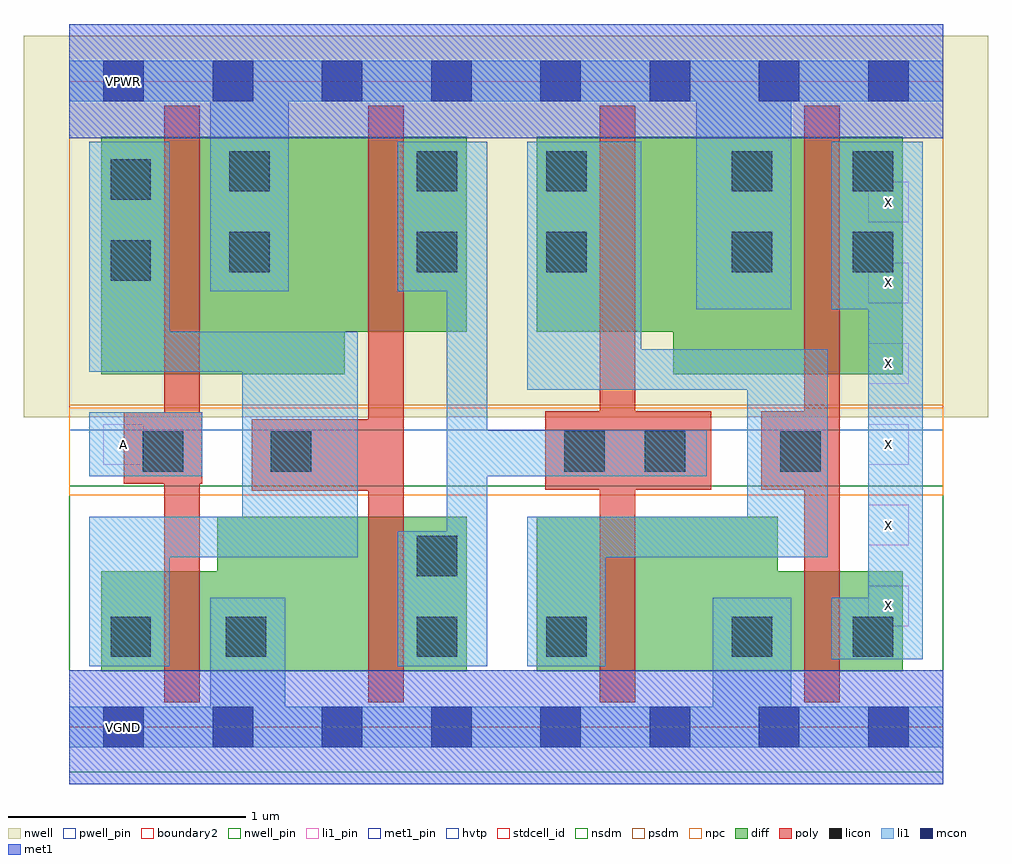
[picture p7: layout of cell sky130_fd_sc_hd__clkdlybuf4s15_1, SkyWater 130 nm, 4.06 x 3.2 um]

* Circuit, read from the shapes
.subckt sky130_fd_sc_hd__clkdlybuf4s15_1 A VGND VNB VPB VPWR X
XM1 VGND A n1 VNB sky130_fd_pr__nfet_01v8 w=0.42 l=0.15
XM2 n2 n1 VGND VNB sky130_fd_pr__nfet_01v8 w=0.65 l=0.15
XM3 VGND n2 n3 VNB sky130_fd_pr__nfet_01v8 w=0.65 l=0.15
XM4 X n3 VGND VNB sky130_fd_pr__nfet_01v8 w=0.42 l=0.15
XM5 VPWR A n1 VPB sky130_fd_pr__pfet_01v8_hvt w=1 l=0.15
XM6 n2 n1 VPWR VPB sky130_fd_pr__pfet_01v8_hvt w=0.82 l=0.15
XM7 VPWR n2 n3 VPB sky130_fd_pr__pfet_01v8_hvt w=0.82 l=0.15
XM8 X n3 VPWR VPB sky130_fd_pr__pfet_01v8_hvt w=1 l=0.15
.ends

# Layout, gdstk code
import gdstk
lib = gdstk.Library(unit=1e-6, precision=1e-09)
def R(c, l, rs):  # rectangles x0, y0, x1, y1
    for r in rs: c.add(gdstk.rectangle(r[:2], r[2:], *l))
def A(c, l, x, y, w, h, nx, ny, dx, dy):  # array of equal rectangles
    R(c, l, [(x+i*dx, y+j*dy, x+i*dx+w, y+j*dy+h) for i in range(nx) for j in range(ny)])
def P(c, l, *ps):  # polygons
    for p in ps: c.add(gdstk.Polygon(p, *l))
nwell_pin = (64, 16)
nwell = (64, 20)
diff = (65, 20)
poly = (66, 20)
licon = (66, 44)
li1_pin = (67, 16)
li1 = (67, 20)
mcon = (67, 44)
met1_pin = (68, 16)
met1 = (68, 20)
hvtp = (78, 44)
stdcell_id = (81, 4)
nsdm = (93, 44)
psdm = (94, 20)
npc = (95, 20)
pwell_pin = (122, 16)
boundary2 = (236, 0)

sky130_fd_sc_hd__clkdlyb = lib.new_cell('sky130_fd_sc_hd__clkdlybuf4s15_1')
R(sky130_fd_sc_hd__clkdlyb, nwell_pin, [(0.145,2.635,0.315,2.805)])
R(sky130_fd_sc_hd__clkdlyb, nwell, [(-0.19,1.305,3.87,2.91)])
P(sky130_fd_sc_hd__clkdlyb, diff, [(1.675,0.885),(0.625,0.885),(0.625,0.655),(0.135,0.655),(0.135,0.235),(1.675,0.235)],
  [(3.51,2.485),(1.97,2.485),(1.97,1.665),(2.545,1.665),(2.545,1.485),(3.51,1.485)],
  [(1.675,2.485),(0.135,2.485),(0.135,1.485),(1.16,1.485),(1.16,1.665),(1.675,1.665)],
  [(3.51,0.655),(2.985,0.655),(2.985,0.885),(1.97,0.885),(1.97,0.235),(3.51,0.235)])
P(sky130_fd_sc_hd__clkdlyb, poly, [(3.245,2.615),(3.095,2.615),(3.095,1.33),(2.915,1.33),(2.915,1),(3.095,1),(3.095,0.105),(3.245,0.105)],
  [(2.705,1.33),(2.385,1.33),(2.385,2.615),(2.235,2.615),(2.235,1.33),(2.005,1.33),(2.005,1),(2.235,1),(2.235,0.105),(2.385,0.105),(2.385,1),(2.705,1)],
  [(0.55,2.615),(0.4,2.615),(0.4,1.325),(0.23,1.325),(0.23,1.025),(0.4,1.025),(0.4,0.105),(0.55,0.105),(0.55,1.025),(0.56,1.025),(0.56,1.325),(0.55,1.325)],
  [(1.41,2.615),(1.26,2.615),(1.26,1.295),(0.77,1.295),(0.77,0.995),(1.26,0.995),(1.26,0.105),(1.41,0.105)])
R(sky130_fd_sc_hd__clkdlyb, licon, [(0.175,0.295,0.345,0.465), (0.66,0.295,0.83,0.465), (1.465,0.295,1.635,0.465), (2.01,0.295,2.18,0.465), (2.79,0.295,2.96,0.465), (3.3,0.295,3.47,0.465), (1.465,0.635,1.635,0.805), (0.31,1.075,0.48,1.245), (0.85,1.075,1.02,1.245), (2.085,1.075,2.255,1.245), (2.425,1.075,2.595,1.245), (2.995,1.075,3.165,1.245), (0.175,1.88,0.345,2.05), (0.675,1.915,0.845,2.085), (1.465,1.915,1.635,2.085), (2.01,1.915,2.18,2.085), (2.79,1.915,2.96,2.085), (3.3,1.915,3.47,2.085), (0.175,2.22,0.345,2.39), (0.675,2.255,0.845,2.425), (1.465,2.255,1.635,2.425), (2.01,2.255,2.18,2.425), (2.79,2.255,2.96,2.425), (3.3,2.255,3.47,2.425)])
A(sky130_fd_sc_hd__clkdlyb, li1_pin, 3.365, 0.425, 0.17, 0.17, 1, 6, 0, 0.34)
R(sky130_fd_sc_hd__clkdlyb, li1_pin, [(0.145,1.105,0.315,1.275)])
R(sky130_fd_sc_hd__clkdlyb, li1, [(0.085,1.055,0.56,1.325)])
P(sky130_fd_sc_hd__clkdlyb, li1, [(3.595,2.465),(3.21,2.465),(3.21,1.76),(3.365,1.76),(3.365,0.545),(3.21,0.545),(3.21,0.285),(3.595,0.285)],
  [(2.685,1.25),(1.76,1.25),(1.76,2.465),(1.385,2.465),(1.385,1.835),(1.59,1.835),(1.59,0.825),(1.385,0.825),(1.385,0.255),(1.76,0.255),(1.76,1.055),(2.685,1.055)],
  [(3.68,2.805),(0,2.805),(0,2.635),(0.595,2.635),(0.595,1.835),(0.925,1.835),(0.925,2.635),(2.64,2.635),(2.64,1.76),(3.04,1.76),(3.04,2.635),(3.68,2.635)],
  [(3.195,1.59),(2.41,1.59),(2.41,2.465),(1.93,2.465),(1.93,1.42),(2.855,1.42),(2.855,0.885),(1.93,0.885),(1.93,0.255),(2.26,0.255),(2.26,0.715),(3.195,0.715)],
  [(1.215,1.665),(0.425,1.665),(0.425,2.465),(0.085,2.465),(0.085,1.495),(0.73,1.495),(0.73,0.885),(0.085,0.885),(0.085,0.255),(0.425,0.255),(0.425,0.715),(1.215,0.715)],
  [(3.68,0.085),(3.04,0.085),(3.04,0.545),(2.71,0.545),(2.71,0.085),(0.91,0.085),(0.91,0.545),(0.595,0.545),(0.595,0.085),(0,0.085),(0,-0.085),(3.68,-0.085)])
A(sky130_fd_sc_hd__clkdlyb, mcon, 0.145, -0.085, 0.17, 0.17, 8, 2, 0.46, 2.72)
R(sky130_fd_sc_hd__clkdlyb, met1_pin, [(0.145,-0.085,0.315,0.085), (0.145,2.635,0.315,2.805)])
R(sky130_fd_sc_hd__clkdlyb, hvtp, [(0,1.25,3.68,2.72)])
R(sky130_fd_sc_hd__clkdlyb, stdcell_id, [(0,0,3.68,2.72)])
R(sky130_fd_sc_hd__clkdlyb, nsdm, [(0,-0.19,3.68,1.015)])
R(sky130_fd_sc_hd__clkdlyb, psdm, [(0,1.355,3.68,2.91)])
R(sky130_fd_sc_hd__clkdlyb, npc, [(0,0.975,3.68,1.345)])
R(sky130_fd_sc_hd__clkdlyb, pwell_pin, [(0.145,-0.085,0.315,0.085)])
R(sky130_fd_sc_hd__clkdlyb, boundary2, [(0,0,3.68,2.72)])
sky130_fd_sc_hd__clkdlyb.add(gdstk.FlexPath([(0,0),(3.68,0)], 0.48, ends="flush", simple_path=True, layer=68, datatype=20))  # met1
sky130_fd_sc_hd__clkdlyb.add(gdstk.FlexPath([(0,2.72),(3.68,2.72)], 0.48, ends="flush", simple_path=True, layer=68, datatype=20))  # met1
sky130_fd_sc_hd__clkdlyb.add(gdstk.Label('VGND', (0.23,0), layer=68, texttype=5))
sky130_fd_sc_hd__clkdlyb.add(gdstk.Label('VPWR', (0.23,2.72), layer=68, texttype=5))
sky130_fd_sc_hd__clkdlyb.add(gdstk.Label('A', (0.23,1.19), layer=67, texttype=5))
sky130_fd_sc_hd__clkdlyb.add(gdstk.Label('X', (3.45,1.19), layer=67, texttype=5))
sky130_fd_sc_hd__clkdlyb.add(gdstk.Label('X', (3.45,0.51), layer=67, texttype=5))
sky130_fd_sc_hd__clkdlyb.add(gdstk.Label('X', (3.45,0.85), layer=67, texttype=5))
sky130_fd_sc_hd__clkdlyb.add(gdstk.Label('X', (3.45,1.53), layer=67, texttype=5))
sky130_fd_sc_hd__clkdlyb.add(gdstk.Label('X', (3.45,1.87), layer=67, texttype=5))
sky130_fd_sc_hd__clkdlyb.add(gdstk.Label('X', (3.45,2.21), layer=67, texttype=5))
sky130_fd_sc_hd__clkdlyb.add(gdstk.Label('VPB', (0.23,2.72), layer=64, texttype=5))
sky130_fd_sc_hd__clkdlyb.add(gdstk.Label('VNB', (0.23,0), layer=64, texttype=59))
sky130_fd_sc_hd__clkdlyb.add(gdstk.Label('clkdlybuf4s15_1', (0,0), layer=83, texttype=44))

lib.write_gds('sky130_fd_sc_hd__clkdlybuf4s15_1.gds')
